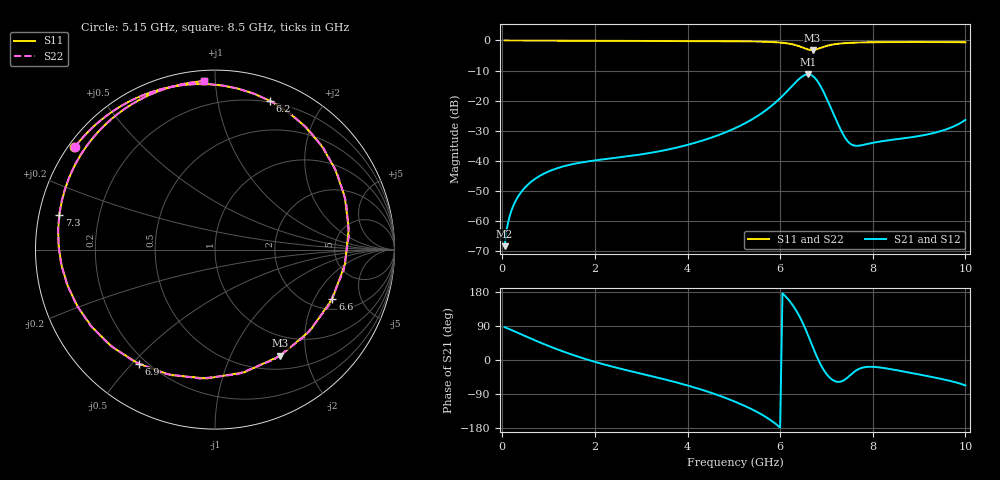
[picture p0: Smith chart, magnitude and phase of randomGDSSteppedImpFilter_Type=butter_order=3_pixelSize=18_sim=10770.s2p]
! freq	dB(S11)	phase(S11)	dB(S12)	phase(S12)
!  dB(S21)	phase(S21)	dB(S22)	phase(S22)
!S-par simulation data
#  GHz  S  DB  R 50
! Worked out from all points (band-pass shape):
!   200 points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, 50 MHz to 10 GHz, reference 50 ohm
!   highest |S21| = -11.25 dB at 6.6 GHz (marker M1); lowest = -68.4 dB at 50 MHz (marker M2)
!   |S21| within 3 dB of the highest: 6.313 GHz to 6.835 GHz (522.3 MHz wide, 7.95 % of centre)
!   lowest |S11| = -3.2 dB at 6.7 GHz (marker M3), VSWR 5.54, Z = 34.3 - j78.3 ohm
!   |S11| at or under -10 dB: nowhere
!   |S22| runs from -3.2 to 0.0 dB; largest |S21 - S12| = 0
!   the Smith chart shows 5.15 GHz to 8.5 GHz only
!   S11 on the Smith chart (normalised r, x): 5.15 GHz: 0.02, +0.32; 6.2 GHz: 0.19, +1.42; 6.6 GHz: 2.56, -2.81; 6.9 GHz: 0.17, -0.52; 7.3 GHz: 0.06, +0.11; 8.5 GHz: 0.06, +0.94
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0.05  -0.00 -2.8  -68.40 86.6  -68.40 86.6  -0.00 -2.8
0.2  -0.02 -11.1  -56.42 78.9  -56.42 78.9  -0.02 -11.1
0.5  -0.04 -27.4  -48.74 62.7  -48.74 62.7  -0.04 -27.4
1.15  -0.07 -61.1  -42.67 29.9  -42.67 29.9  -0.07 -61.1
1.75  -0.10 -89.1  -40.46 4.4  -40.46 4.4  -0.10 -89.1
3.4  -0.15 -152.8  -36.82 -47.9  -36.82 -47.9  -0.15 -152.8
4.25  -0.20 178.0  -33.63 -76.3  -33.63 -76.3  -0.20 177.9
5.05  -0.27 148.2  -29.01 -111.2  -29.01 -111.2  -0.27 148.0
5.15  -0.28 144.0  -28.27 -116.5  -28.27 -116.5  -0.29 143.8
5.75  -0.47 112.5  -22.52 -155.0  -22.52 -155.0  -0.48 112.0
6.2  -1.08 69.6  -16.08 156.2  -16.08 156.2  -1.10 68.3
6.45  -2.15 22.2  -12.28 107.4  -12.28 107.4  -2.19 19.8
6.6  -2.99 -22.7  -11.25 66.2  -11.25 66.2  -3.02 -25.9
6.7  -3.17 -58.5  -11.76 35.9  -11.76 35.9  -3.15 -61.7
6.9  -2.32 -123.8  -15.99 -17.9  -15.99 -17.9  -2.28 -125.7
7.05  -1.63 -157.4  -20.85 -44.0  -20.85 -44.0  -1.60 -158.6
7.3  -1.02 167.4  -29.43 -57.3  -29.43 -57.3  -1.01 166.9
7.6  -0.74 141.4  -34.96 -31.1  -34.96 -31.1  -0.73 141.2
8.35  -0.54 100.4  -33.17 -23.3  -33.17 -23.3  -0.54 100.3
8.5  -0.53 93.6  -32.87 -26.6  -32.87 -26.6  -0.53 93.6
9.2  -0.52 64.2  -31.18 -42.9  -31.18 -42.9  -0.52 64.1
10  -0.61 31.4  -26.39 -67.1  -26.39 -67.1  -0.61 31.3
